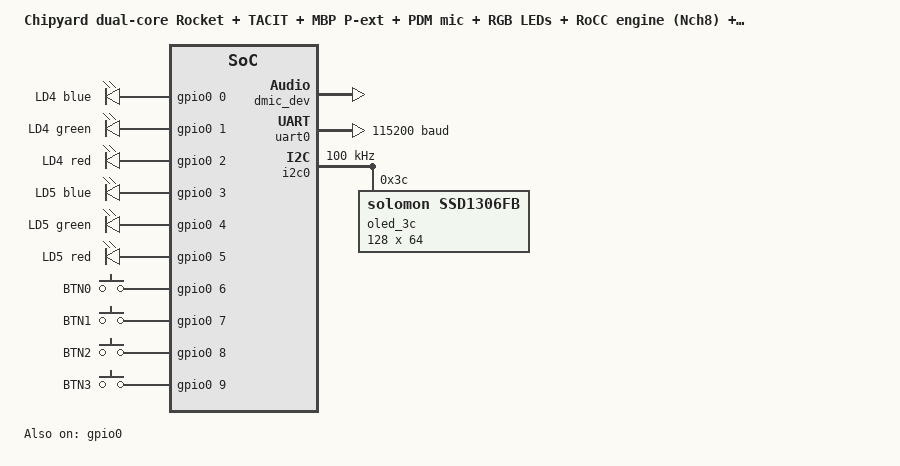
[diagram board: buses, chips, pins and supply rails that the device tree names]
/dts-v1/;

/*
 * THE TUTORIAL PANEL BOARD: 0x5A5A0037, variant `roccmoonnch8f40b98bpanel`, FCLK0 40 MHz.
 * Config PynqZ2RocketBigLittlePextTacitMicRgbRoccMoonAllNch8I2cBtnConfig (Lab B135).
 *
 * It is chipyard_pynqz1_micrgb_f40 (0x5A5A0035's board) PLUS a TLI2C at 0x1004_0000 and
 * FOUR MORE GPIO PINS, and the PLIC renumbering those two additions cause is the whole
 * reason this is a separate board rather than an overlay.  See "THE NUMBERS" below.
 *
 * WHY A SEPARATE BOARD, IN ONE SENTENCE: an image built for chipyard_pynqz1_micrgb_f40 and
 * loaded on 0x5A5A0037 puts the console's IRQ on the I2C controller's PLIC source, and a
 * guest with the wrong console does not fail loudly -- IT LOOKS DEAD.  That is the failure
 * mode this file exists to prevent, and it is the same one chipyard_pynqz1_cam's header
 * warns about for 0x5A5A001E.
 *
 * ---------------------------------------------------------------------------------------
 * THE NUMBERS, AND HOW THEY WERE VERIFIED
 *
 * NOT transcribed from a comment, and not from the elaboration directory alone.  They were
 * read out of THE BOOTROM DTB THAT IS COMPILED INTO THE BITSTREAM:
 *
 *   1. fpga/pynq-z2/build_rocket_micrgb_roccmoonnch8f40b98bpanel_z1/proj/*.xpr names the
 *      gen-collateral directory Vivado actually read --
 *      .../generated-src/chipyard.harness.TestHarness.
 *      PynqZ2RocketBigLittlePextTacitMicRgbRoccMoonAllNch8I2cBtnConfig/gen-collateral/
 *   2. That directory's TLROM.sv holds the boot ROM as 1,024 64-bit words.  Unpacked
 *      little-endian, byte 0xC0 of the ROM is the FDT magic d00dfeed and the blob is 4,996
 *      bytes.  `dtc -I dtb -O dts` on it says, verbatim:
 *
 *          i2c@10040000                  interrupts = <0x01>;
 *          serial@10020000               interrupts = <0x02>;
 *          gpio@10010000                 interrupts = <0x03 ... 0x0c>;   (ten)
 *          interrupt-controller@c000000  riscv,ndev = <0x0c>;
 *
 *   3. The config's own generated .dts next to that collateral says the same thing, and so
 *      does tcl/build_rocket.tcl's variant comment.  Three statements, one of which is the
 *      silicon's own bootrom; the numbers below are that one.
 *
 * THE UART MOVED, 1 -> 2.  DigitalTop mixes HasPeripheryI2C in ahead of HasPeripheryUART, so
 * the TLI2C takes source 1 and everything after it shifts.  chipyard_pynqz1_micrgb_f40's
 * `interrupts = <1 1>` on the UART is the I2C CONTROLLER on this machine.
 *
 * THE GPIO IS TEN PINS, NOT SIX, and its sources are 3..12 -- one higher than
 * chipyard_pynqz1_cam's 3..8 because that board's controller has six pins and this one has
 * ten (chipyard.WithGPIOWidth(10)).  Pins 0..5 are the two RGB LEDs and are UNCHANGED from
 * 0x5A5A0035; pins 6..9 are BTN0..BTN3.
 *
 * riscv,ndev is left at the shared dtsi's 1024 rather than cut to 12, as on every other
 * board here: Zephyr's PLIC driver sizes its tables from it, and having the driver prepared
 * for more sources than the hardware has is the harmless direction.
 *
 * ---------------------------------------------------------------------------------------
 * WHICH PHYSICAL PINS, because the OLED is wired DIRECTLY to the PL and somebody has to
 * connect it.  From src/pynqz2_i2c.xdc (the constraint this build used) CONFIRMED against
 * the routed design's own report_io
 * (build_rocket_micrgb_roccmoonnch8f40b98bpanel_z1/reports/post_route_io.rpt):
 *
 *     SCL  ball P16  IO_L24N_T3_34  bank 34   PYNQ-Z1 shield row J6, pin marked "SCL"
 *     SDA  ball P15  IO_L24P_T3_34  bank 34   PYNQ-Z1 shield row J6, pin marked "SDA"
 *
 * J6 is the outer digital row IO8..SCL; SDA and SCL are its last two positions, after GND
 * and the AREF position (archive/drafts/PINMAP_riskybirdv3_pynq_camera_rev0.6.md, which
 * takes them from PYNQ-Z1 Reference Manual figure 17.1).  Ground is the GND pin in the same
 * row (between IO13 and AREF); 3V3 is on the power row J8.  The Z1 fits 2.2 k pull-ups to
 * 3V3 on both lines (R49/R50) -- these two balls are the only PL pins on this board that
 * have them, which is why an SSD1306 wired straight to the PL goes here.
 *
 * The buttons need no wiring: BTN0..BTN3 are the board's own pushbuttons.
 *
 *     btn[0] BTN0  ball D19   btn[1] BTN1  ball D20
 *     btn[2] BTN2  ball L20   btn[3] BTN3  ball L19      all bank 35, LVCMOS33
 *
 * ACTIVE HIGH -- PYNQ-Z1 Reference Manual section 12, quoted in docs/RGB_LEDS.md section 8:
 * the buttons "normally generate a low output when they are at rest, and a high output only
 * when they are pressed".  There is no inversion anywhere in the PL, so GPIO_ACTIVE_HIGH
 * below is the board's real polarity and gpio_pin_get_dt() == 1 means "pressed".
 */

#include <zephyr/dt-bindings/gpio/gpio.h>
#include <zephyr/dt-bindings/input/input-event-codes.h>
#include <chipyard/chipyard-riscv64.dtsi>

/ {
	model = "Chipyard dual-core Rocket + TACIT + MBP P-ext + PDM mic + RGB LEDs + RoCC engine (Nch8) + SSD1306 I2C + 4 buttons (PYNQ-Z1, FCLK0 40 MHz)";
	compatible = "ucb-bar,chipyard-dev";

	chosen {
		zephyr,console = &uart0;
		zephyr,shell-uart = &uart0;
		zephyr,sram = &ram0;
	};

	soc {
		dmic_dev: pdm-mic@10090000 {
			compatible = "iiswc,pdm-mic";
			reg = <0x10090000 0x1000>;
			status = "okay";
		};

		gpio0: gpio@10010000 {
			compatible = "sifive,gpio0";
			reg = <0x10010000 0x1000>;
			reg-names = "control";
			interrupt-parent = <&plic>;
			/*
			 * TEN entries, <source priority>, in pin order -- the bootrom DTB's
			 * `interrupts = <3 4 5 6 7 8 9 10 11 12>`.  sifive,gpio0.yaml makes
			 * `interrupts` required and gpio_sifive.c IRQ_CONNECTs one per entry
			 * (its cfg function has slots for twelve), so these have to be right
			 * rather than plausible.  Nothing here uses them today: the LEDs are
			 * outputs and the buttons are polled.
			 */
			interrupts = <3 1>, <4 1>, <5 1>, <6 1>, <7 1>, <8 1>,
				     <9 1>, <10 1>, <11 1>, <12 1>;
			gpio-controller;
			#gpio-cells = <2>;
			/*
			 * Ten, not six and not the binding's default 32.
			 * GPIO_PORT_PIN_MASK_FROM_DT_INST builds the driver's port_pin_mask
			 * from this, so a write to pin 10 comes back -EINVAL instead of
			 * reaching a register bit the hardware does not have.
			 */
			ngpios = <10>;
			status = "okay";
		};
	};

	/*
	 * UNCHANGED FROM chipyard_pynqz1_micrgb_f40, deliberately and to be kept that way:
	 * pins 0..5 of this controller are the same six RGB signals on the same six balls
	 * (L15/G17/N15 = LD4 blue/green/red, G14/L14/M15 = LD5), and samples/mic_led_record
	 * and samples/moonshine_live reach them only through the led0..led5 aliases below.
	 * Widening the controller did not move them; that is what makes those two samples
	 * build for this board with no source change.
	 *
	 * ACTIVE HIGH: the FPGA drives the tri-colour LED cathodes through an INVERTING
	 * transistor (PYNQ-Z1 Reference Manual 12.1).  The PL chops all six at a fixed
	 * 12.5 % duty (src/pynqz2_rocket_top.v), so a pin written to 1 is on at 12.5 %.
	 */
	rgbleds: rgbleds {
		compatible = "gpio-leds";
		ld4_blue:  ld4_blue  { gpios = <&gpio0 0 GPIO_ACTIVE_HIGH>; label = "LD4 blue";  };
		ld4_green: ld4_green { gpios = <&gpio0 1 GPIO_ACTIVE_HIGH>; label = "LD4 green"; };
		ld4_red:   ld4_red   { gpios = <&gpio0 2 GPIO_ACTIVE_HIGH>; label = "LD4 red";   };
		ld5_blue:  ld5_blue  { gpios = <&gpio0 3 GPIO_ACTIVE_HIGH>; label = "LD5 blue";  };
		ld5_green: ld5_green { gpios = <&gpio0 4 GPIO_ACTIVE_HIGH>; label = "LD5 green"; };
		ld5_red:   ld5_red   { gpios = <&gpio0 5 GPIO_ACTIVE_HIGH>; label = "LD5 red";   };
	};

	/*
	 * THE FOUR BUTTONS, AS gpio-keys WITH sw0..sw3 ALIASES.  Two reasons for that shape
	 * rather than bare aliases onto the controller:
	 *
	 *   1. An application that only wants to POLL still gets a gpio_dt_spec with the
	 *      polarity attached -- GPIO_DT_SPEC_GET(DT_ALIAS(sw0), gpios) -- which is
	 *      EXACTLY the led0..led5 pattern samples/moonshine_live already uses.  Nobody
	 *      has to know that BTN0 is pin 6, and nobody can get the polarity wrong.
	 *   2. gpio-keys costs nothing unless an image asks for it.  CONFIG_INPUT is not
	 *      default-y (subsys/input/Kconfig), and CONFIG_INPUT_GPIO_KEYS lives inside
	 *      `if INPUT`, so on an image that does not set CONFIG_INPUT=y these nodes bind
	 *      no driver, connect no IRQ and cost no bytes.  An image that DOES want edge
	 *      events later gets them for one Kconfig line, using the PLIC sources above.
	 *
	 * zephyr,code is filled in so that path works when somebody takes it; it is ignored
	 * by polling code.
	 *
	 * INPUT ONLY, AND input_en MATTERS.  Nothing in the PL drives these four balls; the
	 * top level feeds the controller's i_ival from the pad gated by the controller's own
	 * input_en.  A guest that never calls gpio_pin_configure_dt(..., GPIO_INPUT) reads
	 * EVERY BUTTON AS 0 FOREVER -- it does not error, it just reads 0.  gpio_sifive.c
	 * sets in_en from the GPIO_INPUT flag, so configure before you read.
	 *
	 * NO DEBOUNCE IN HARDWARE, and the board has none either.  A polling reader should
	 * require two agreeing samples a few ms apart, or use debounce-interval-ms here.
	 */
	buttons: buttons {
		compatible = "gpio-keys";
		debounce-interval-ms = <30>;
		btn0: btn0 { gpios = <&gpio0 6 GPIO_ACTIVE_HIGH>; label = "BTN0"; zephyr,code = <INPUT_KEY_0>; };
		btn1: btn1 { gpios = <&gpio0 7 GPIO_ACTIVE_HIGH>; label = "BTN1"; zephyr,code = <INPUT_KEY_1>; };
		btn2: btn2 { gpios = <&gpio0 8 GPIO_ACTIVE_HIGH>; label = "BTN2"; zephyr,code = <INPUT_KEY_2>; };
		btn3: btn3 { gpios = <&gpio0 9 GPIO_ACTIVE_HIGH>; label = "BTN3"; zephyr,code = <INPUT_KEY_3>; };
	};

	aliases {
		/*
		 * led0..led5 ARE LOAD-BEARING and must not be renumbered: samples/mic_led_record
		 * and samples/moonshine_live take them with DT_ALIAS(led0..led5) and nothing
		 * else identifies a lamp.  These six lines are chipyard_pynqz1_micrgb_f40's,
		 * character for character.
		 */
		led0 = &ld4_blue;
		led1 = &ld4_green;
		led2 = &ld4_red;
		led3 = &ld5_blue;
		led4 = &ld5_green;
		led5 = &ld5_red;
		sw0 = &btn0;
		sw1 = &btn1;
		sw2 = &btn2;
		sw3 = &btn3;
	};
};

&uart0 {
	status = "okay";
	current-speed = <115200>;
	/*
	 * PLIC SOURCE 2 ON THIS SoC.  On chipyard_pynqz1_micrgb_f40 it is 1, and 1 here is
	 * the I2C controller.  A wrong number here is a console that looks hung: the guest
	 * runs, the UART transmits nothing an interrupt ever completes, and the bench sees a
	 * dead board.  Read from the bootrom DTB, not from this comment -- see the header.
	 */
	interrupts = <2 1>;
};

&i2c0 {
	status = "okay";
	/* source 1 in the bootrom DTB; the shared dtsi's <52 1> is another SoC's.
	 * i2c_sifive.c polls -- it never enables this interrupt -- but the property is
	 * required by the binding and a wrong value would be a lie in the record. */
	interrupts = <1 1>;
	/*
	 * 100 kHz, as chipyard_pynqz1_cam and the shared dtsi both set.  i2c_sifive derives
	 * the prescaler from SIFIVE_PERIPHERAL_CLOCK_FREQUENCY, which is
	 * CONFIG_SYS_CLOCK_HW_CYCLES_PER_SEC * CONFIG_RTC_CLOCK_DIVIDER_VALUE = 40,000,000
	 * here against 34,483,000 on the cam board, SO THE ACTUAL SCL RATE IS NOT THE ONE
	 * MEASURED IN docs/OLED_SSD1306.md 7.3 (112.69 kHz on a 34.4828 MHz pbus).  Nobody
	 * has measured it at 40 MHz.  It is well inside the SSD1306's 400 kHz either way,
	 * so this is a number to re-measure, not a hazard.
	 */
	clock-frequency = <100000>;

	/*
	 * THE OLED.  0x3c is the strap the module on this bench uses (0x3d exists on some
	 * modules; samples/oled_status's own overlay adds that second node and probes both).
	 *
	 * zephyr,deferred-init IS NOT OPTIONAL HERE.  Without it the SSD1306 driver would
	 * run its init sequence at boot on every image built for this board, and on a board
	 * with no display fitted that is a failing device init before main() -- on a bus
	 * whose controller has no timeout (docs/OLED_SSD1306.md F2).  With it, nothing
	 * touches the bus until an application calls device_init(), which is what
	 * samples/oled_status does after it has NOP-probed the address.
	 *
	 * Panel properties are Zephyr's own ssd1306_128x64 shield values, the same ones
	 * samples/oled_status/oled.overlay sets; that overlay merges with this node rather
	 * than conflicting with it.
	 */
	oled_3c: ssd1306@3c {
		compatible = "solomon,ssd1306fb";
		reg = <0x3c>;
		width = <128>;
		height = <64>;
		segment-offset = <0>;
		page-offset = <0>;
		display-offset = <0>;
		multiplex-ratio = <63>;
		segment-remap;
		com-invdir;
		prechargep = <0x22>;
		zephyr,deferred-init;
	};
};

/* HTIF is a simulator transport: it needs a host polling tohost/fromhost. On the FPGA the
 * console is a real UART, so leave it off. */
&htif {
	status = "disabled";
};

&flash0 {
	status = "disabled";
};
